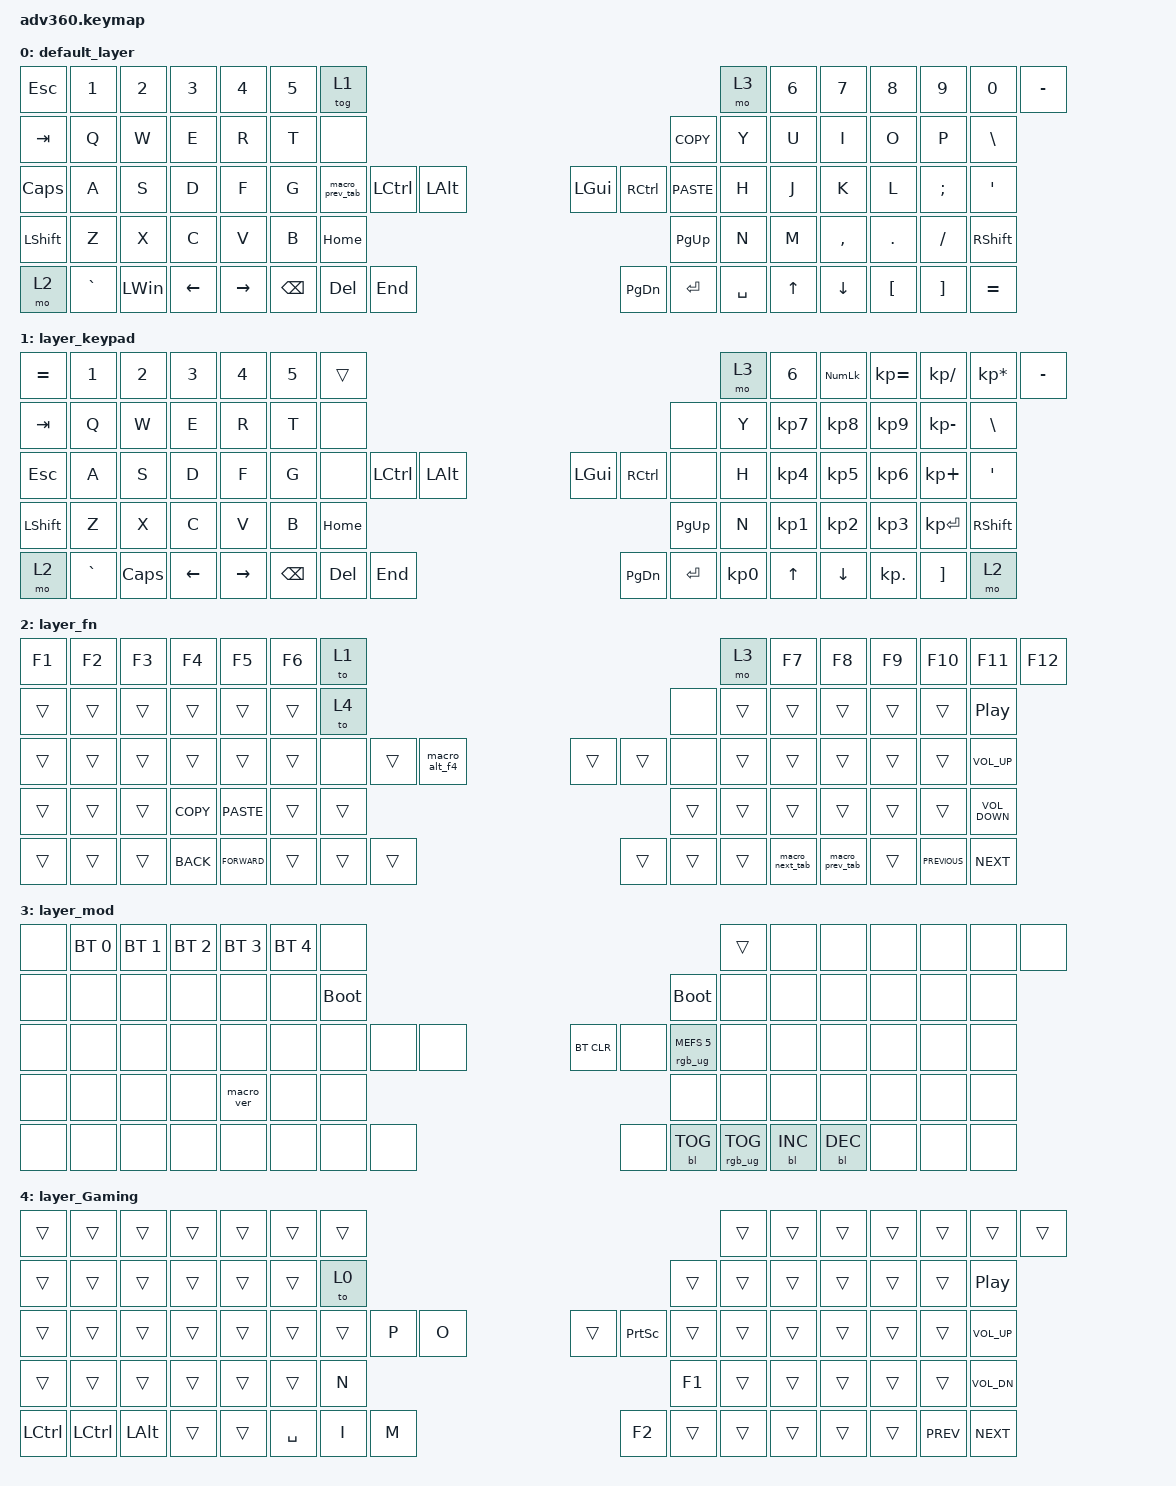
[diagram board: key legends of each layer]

/*
 * Copyright (c) 2020 The ZMK Contributors
 *
 * SPDX-License-Identifier: MIT
 */


/* THIS FILE WAS GENERATED!
 *
 * This file was generated automatically. You may or may not want to
 * edit it directly.
 */

#include <behaviors.dtsi>
#include <dt-bindings/zmk/keys.h>
#include <dt-bindings/zmk/bt.h>
#include <dt-bindings/zmk/rgb.h>
#include <dt-bindings/zmk/backlight.h>

/ {
  behaviors {
    #include "macros.dtsi"
    #include "version.dtsi"

    hm: homerow_mods {
        compatible = "zmk,behavior-hold-tap";
        label = "HOMEROW_MODS";
        #binding-cells = <2>;
        tapping-term-ms = <200>;
        quick_tap_ms = <175>;
        flavor = "tap-preferred";
        bindings = <&kp>, <&kp>;
    };
  };

    keymap {
        compatible = "zmk,keymap";


        default_layer {
            bindings = <
      &kp ESC     &kp N1        &kp N2    &kp N3     &kp N4  &kp N5                     &tog 1                                                                   &mo 3  &kp N6  &kp N7     &kp N8    &kp N9    &kp N0  &kp MINUS
      &kp TAB      &kp Q         &kp W     &kp E      &kp R   &kp T                      &none                                                              &kp K_COPY   &kp Y   &kp U      &kp I     &kp O     &kp P   &kp BSLH
 &kp CAPSLOCK      &kp A         &kp S     &kp D      &kp F   &kp G            &macro_prev_tab  &kp LCTRL  &kp LALT                   &kp LGUI  &kp RCTRL  &kp K_PASTE   &kp H   &kp J      &kp K     &kp L  &kp SEMI    &kp SQT
    &kp LSHFT      &kp Z         &kp X     &kp C      &kp V   &kp B                                        &kp HOME                  &kp PG_UP                           &kp N   &kp M  &kp COMMA   &kp DOT  &kp FSLH  &kp RSHFT
        &mo 2  &kp GRAVE  &kp LEFT_WIN  &kp LEFT  &kp RIGHT                      &kp BACKSPACE    &kp DEL   &kp END                  &kp PG_DN  &kp ENTER    &kp SPACE          &kp UP   &kp DOWN  &kp LBKT  &kp RBKT  &kp EQUAL
            >;
        };

        layer_keypad {
            bindings = <
 &kp EQUAL     &kp N1    &kp N2    &kp N3     &kp N4  &kp N5              &trans                                                                 &mo 3  &kp N6  &kp KP_NUM  &kp KP_EQUAL  &kp KP_DIVIDE  &kp KP_MULTIPLY  &kp MINUS
   &kp TAB      &kp Q     &kp W     &kp E      &kp R   &kp T               &none                                                                 &none   &kp Y   &kp KP_N7     &kp KP_N8      &kp KP_N9     &kp KP_MINUS   &kp BSLH
   &kp ESC      &kp A     &kp S     &kp D      &kp F   &kp G               &none  &kp LCTRL  &kp LALT                   &kp LGUI  &kp RCTRL      &none   &kp H   &kp KP_N4     &kp KP_N5      &kp KP_N6      &kp KP_PLUS    &kp SQT
 &kp LSHFT      &kp Z     &kp X     &kp C      &kp V   &kp B                                 &kp HOME                  &kp PG_UP                         &kp N   &kp KP_N1     &kp KP_N2      &kp KP_N3     &kp KP_ENTER  &kp RSHFT
     &mo 2  &kp GRAVE  &kp CAPS  &kp LEFT  &kp RIGHT                    &kp BSPC    &kp DEL   &kp END                  &kp PG_DN  &kp ENTER  &kp KP_N0              &kp UP      &kp DOWN     &kp KP_DOT         &kp RBKT      &mo 2
            >;
        };

        layer_fn {
            bindings = <
 &kp F1  &kp F2  &kp F3      &kp F4         &kp F5  &kp F6             &to 1                                                          &mo 3  &kp F7           &kp F8           &kp F9  &kp F10         &kp F11            &kp F12
 &trans  &trans  &trans      &trans         &trans  &trans             &to 4                                                          &none  &trans           &trans           &trans   &trans          &trans   &kp C_PLAY_PAUSE
 &trans  &trans  &trans      &trans         &trans  &trans             &none  &trans  &macro_alt_f4                  &trans  &trans   &none  &trans           &trans           &trans   &trans          &trans    &kp C_VOLUME_UP
 &trans  &trans  &trans  &kp K_COPY    &kp K_PASTE  &trans                                   &trans                  &trans                  &trans           &trans           &trans   &trans          &trans  &kp C_VOLUME_DOWN
 &trans  &trans  &trans  &kp K_BACK  &kp K_FORWARD                    &trans  &trans         &trans                  &trans  &trans  &trans          &macro_next_tab  &macro_prev_tab   &trans  &kp C_PREVIOUS         &kp C_NEXT
            >;
        };

        layer_mod {
            bindings = <
  &none  &bt BT_SEL 0  &bt BT_SEL 1  &bt BT_SEL 2  &bt BT_SEL 3  &bt BT_SEL 4                  &none                                                                          &trans   &none       &none       &none   &none   &none   &none
  &none         &none         &none         &none         &none         &none            &bootloader                                                                     &bootloader   &none       &none       &none   &none   &none   &none
  &none         &none         &none         &none         &none         &none                  &none   &none   &none                  &bt BT_CLR       &none  &rgb_ug RGB_MEFS_CMD 5   &none       &none       &none   &none   &none   &none
  &none         &none         &none         &none    &macro_ver         &none                                  &none                       &none                                       &none       &none       &none   &none   &none   &none
  &none         &none         &none         &none         &none                                &none   &none   &none                       &none  &bl BL_TOG         &rgb_ug RGB_TOG          &bl BL_INC  &bl BL_DEC   &none   &none   &none
            >;
        };

        layer_Gaming {
            bindings = <
    &trans     &trans        &trans  &trans  &trans  &trans               &trans                                                           &trans  &trans  &trans  &trans  &trans      &trans        &trans
    &trans     &trans        &trans  &trans  &trans  &trans                &to 0                                                           &trans  &trans  &trans  &trans  &trans      &trans      &kp C_PP
    &trans     &trans        &trans  &trans  &trans  &trans               &trans   &kp P   &kp O                  &trans  &kp PRINTSCREEN  &trans  &trans  &trans  &trans  &trans      &trans  &kp C_VOL_UP
    &trans     &trans        &trans  &trans  &trans  &trans                                &kp N                  &kp F1                           &trans  &trans  &trans  &trans      &trans  &kp C_VOL_DN
 &kp LCTRL  &kp LCTRL  &kp LEFT_ALT  &trans  &trans                    &kp SPACE   &kp I   &kp M                  &kp F2           &trans  &trans          &trans  &trans  &trans  &kp C_PREV    &kp C_NEXT
            >;
        };

    };
};
